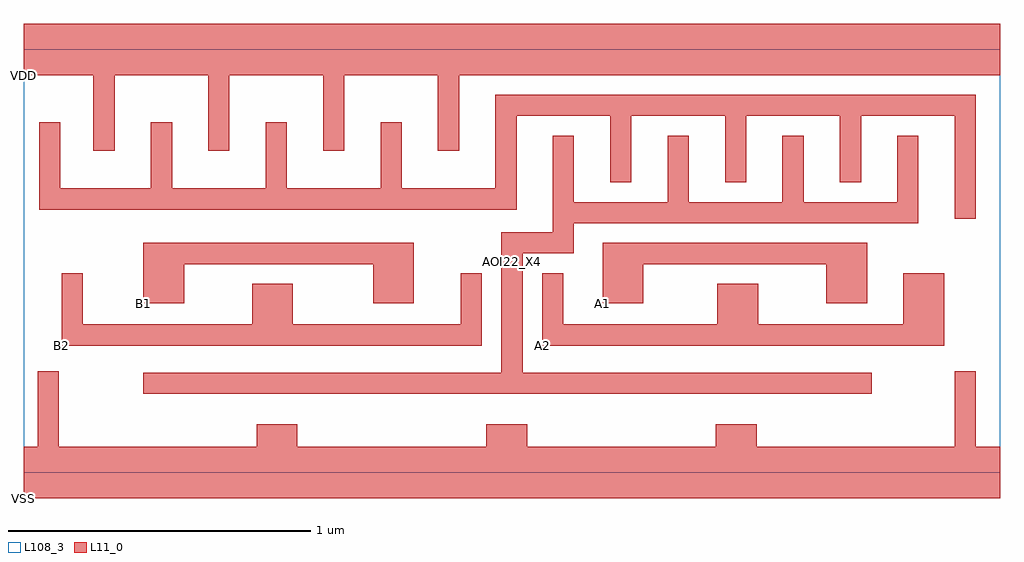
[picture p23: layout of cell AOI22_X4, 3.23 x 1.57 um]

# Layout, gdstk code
import gdstk
lib = gdstk.Library(unit=1e-6, precision=1e-09)
def R(c, l, rs):  # rectangles x0, y0, x1, y1
    for r in rs: c.add(gdstk.rectangle(r[:2], r[2:], *l))
def P(c, l, *ps):  # polygons
    for p in ps: c.add(gdstk.Polygon(p, *l))
L11_0 = (11, 0)
L108_3 = (108, 3)

aoi22_x4 = lib.new_cell('AOI22_X4')
P(aoi22_x4, L11_0, [(1.915,0.56),(2.05,0.56),(2.05,0.69),(2.655,0.69),(2.655,0.56),(2.79,0.56),(2.79,0.76),(1.915,0.76)],
  [(1.715,0.42),(3.045,0.42),(3.045,0.66),(2.91,0.66),(2.91,0.49),(2.43,0.49),(2.43,0.625),(2.295,0.625),(2.295,0.49),(1.785,0.49),(1.785,0.66),(1.715,0.66)],
  [(0.395,0.56),(0.53,0.56),(0.53,0.69),(1.155,0.69),(1.155,0.56),(1.29,0.56),(1.29,0.76),(0.395,0.76)],
  [(0.125,0.42),(1.515,0.42),(1.515,0.66),(1.445,0.66),(1.445,0.49),(0.89,0.49),(0.89,0.625),(0.755,0.625),(0.755,0.49),(0.195,0.49),(0.195,0.66),(0.125,0.66)],
  [(1.65,0.725),(1.82,0.725),(1.82,0.825),(2.96,0.825),(2.96,1.115),(2.89,1.115),(2.89,0.895),(2.58,0.895),(2.58,1.115),(2.51,1.115),(2.51,0.895),(2.2,0.895),(2.2,1.115),(2.13,1.115),(2.13,0.895),(1.82,0.895),(1.82,1.115),(1.75,1.115),(1.75,0.795),(1.58,0.795),(1.58,0.33),(0.395,0.33),(0.395,0.26),(2.805,0.26),(2.805,0.33),(1.65,0.33)],
  [(0,1.315),(0.23,1.315),(0.23,1.065),(0.3,1.065),(0.3,1.315),(0.61,1.315),(0.61,1.065),(0.68,1.065),(0.68,1.315),(0.99,1.315),(0.99,1.065),(1.06,1.065),(1.06,1.315),(1.37,1.315),(1.37,1.065),(1.44,1.065),(1.44,1.315),(3.15,1.315),(3.23,1.315),(3.23,1.485),(3.15,1.485),(0,1.485)],
  [(0,-0.085),(3.23,-0.085),(3.23,0.085),(3.15,0.085),(3.15,0.335),(3.08,0.335),(3.08,0.085),(2.425,0.085),(2.425,0.16),(2.29,0.16),(2.29,0.085),(1.665,0.085),(1.665,0.16),(1.53,0.16),(1.53,0.085),(0.905,0.085),(0.905,0.16),(0.77,0.16),(0.77,0.085),(0.115,0.085),(0.115,0.335),(0.045,0.335),(0.045,0.085),(0,0.085)],
  [(0.05,0.87),(1.63,0.87),(1.63,1.18),(1.94,1.18),(1.94,0.96),(2.01,0.96),(2.01,1.18),(2.32,1.18),(2.32,0.96),(2.39,0.96),(2.39,1.18),(2.7,1.18),(2.7,0.96),(2.77,0.96),(2.77,1.18),(3.08,1.18),(3.08,0.84),(3.15,0.84),(3.15,1.25),(1.56,1.25),(1.56,0.94),(1.25,0.94),(1.25,1.16),(1.18,1.16),(1.18,0.94),(0.87,0.94),(0.87,1.16),(0.8,1.16),(0.8,0.94),(0.49,0.94),(0.49,1.16),(0.42,1.16),(0.42,0.94),(0.12,0.94),(0.12,1.16),(0.05,1.16)])
R(aoi22_x4, L108_3, [(0,0,3.23,1.4)])
aoi22_x4.add(gdstk.Label('AOI22_X4', (1.615,0.7), layer=108, texttype=3))
aoi22_x4.add(gdstk.Label('A1', (1.915,0.56), layer=11, texttype=0))
aoi22_x4.add(gdstk.Label('A2', (1.715,0.42), layer=11, texttype=0))
aoi22_x4.add(gdstk.Label('B1', (0.395,0.56), layer=11, texttype=0))
aoi22_x4.add(gdstk.Label('B2', (0.125,0.42), layer=11, texttype=0))
aoi22_x4.add(gdstk.Label('ZN', (1.65,0.725), layer=11, texttype=0))
aoi22_x4.add(gdstk.Label('VDD', (0,1.315), layer=11, texttype=0))
aoi22_x4.add(gdstk.Label('VSS', (0,-0.085), layer=11, texttype=0))

lib.write_gds('AOI22_X4.gds')
